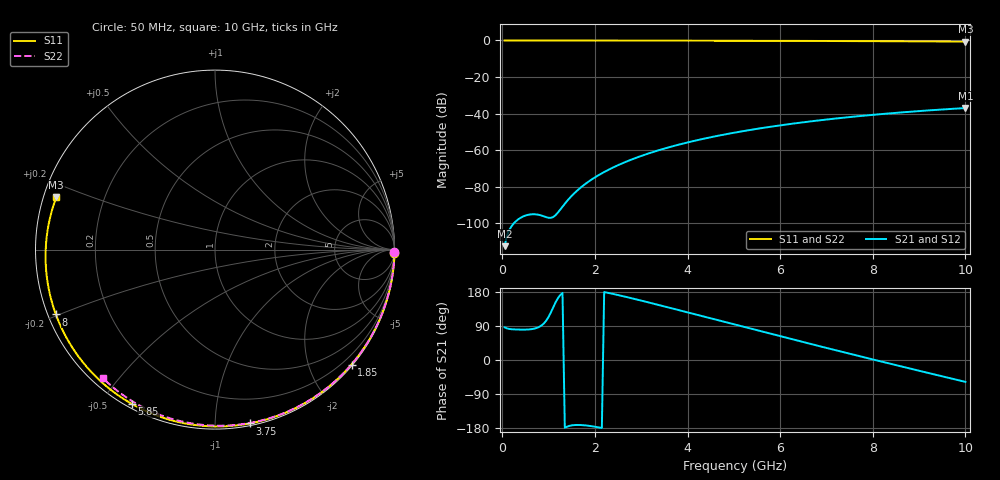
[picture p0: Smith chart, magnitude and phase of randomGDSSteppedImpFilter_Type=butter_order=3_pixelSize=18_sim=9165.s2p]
! freq	dB(S11)	phase(S11)	dB(S12)	phase(S12)
!  dB(S21)	phase(S21)	dB(S22)	phase(S22)
!S-par simulation data
#  GHz  S  DB  R 50
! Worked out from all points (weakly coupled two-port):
!   200 points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, 50 MHz to 10 GHz, reference 50 ohm
!   highest |S21| = -37.02 dB at 10 GHz (marker M1); lowest = -112.6 dB at 50 MHz (marker M2)
!   lowest |S11| = -0.6 dB at 10 GHz (marker M3), VSWR 28.10, Z = 1.82 + j7.99 ohm
!   |S11| at or under -10 dB: nowhere
!   |S22| runs from -0.4 to 0.0 dB; largest |S21 - S12| = 0
!   S11 on the Smith chart (normalised r, x): 50 MHz: open; 1.85 GHz: 0.03, -2.74; 3.75 GHz: 0.02, -1.22; 5.85 GHz: 0.02, -0.60; 8 GHz: 0.02, -0.20; 10 GHz: 0.04, +0.16
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0.05  -0.00 -1.1  -112.61 86.1  -112.61 86.1  -0.00 -0.8
0.45  -0.01 -9.9  -96.35 80.1  -96.35 80.1  -0.01 -6.8
0.85  -0.02 -18.7  -95.87 91.4  -95.87 91.4  -0.02 -12.8
1.25  -0.03 -27.3  -92.62 171.2  -92.62 171.2  -0.02 -18.8
1.7  -0.05 -36.9  -80.38 -171.6  -80.38 -171.6  -0.03 -25.4
1.75  -0.05 -38.0  -79.37 -172.0  -79.37 -172.0  -0.03 -26.1
1.85  -0.05 -40.1  -77.49 -173.3  -77.49 -173.3  -0.04 -27.6
2.15  -0.06 -46.4  -72.72 -179.4  -72.72 -179.4  -0.04 -32.0
2.5  -0.07 -53.6  -68.27 171.4  -68.27 171.4  -0.05 -37.0
2.9  -0.08 -61.8  -64.14 159.8  -64.14 159.8  -0.06 -42.7
3.4  -0.10 -71.8  -59.93 144.5  -59.93 144.5  -0.07 -49.7
3.75  -0.11 -78.7  -57.44 133.5  -57.44 133.5  -0.07 -54.6
4.4  -0.13 -91.3  -53.52 113.0  -53.52 113.0  -0.09 -63.4
5.05  -0.16 -103.5  -50.30 92.5  -50.30 92.5  -0.11 -72.0
5.85  -0.20 -118.3  -47.02 67.4  -47.02 67.4  -0.14 -82.2
6.7  -0.26 -133.8  -44.17 41.1  -44.17 41.1  -0.18 -92.8
7.35  -0.32 -145.7  -42.33 21.1  -42.33 21.1  -0.22 -100.6
8  -0.38 -157.8  -40.72 1.5  -40.72 1.5  -0.26 -108.3
8.35  -0.42 -164.5  -39.95 -9.0  -39.95 -9.0  -0.29 -112.3
9.2  -0.51 178.7  -38.30 -34.3  -38.30 -34.3  -0.36 -122.0
9.6  -0.57 170.4  -37.62 -46.0  -37.62 -46.0  -0.40 -126.6
10  -0.62 161.8  -37.02 -57.7  -37.02 -57.7  -0.44 -131.0
